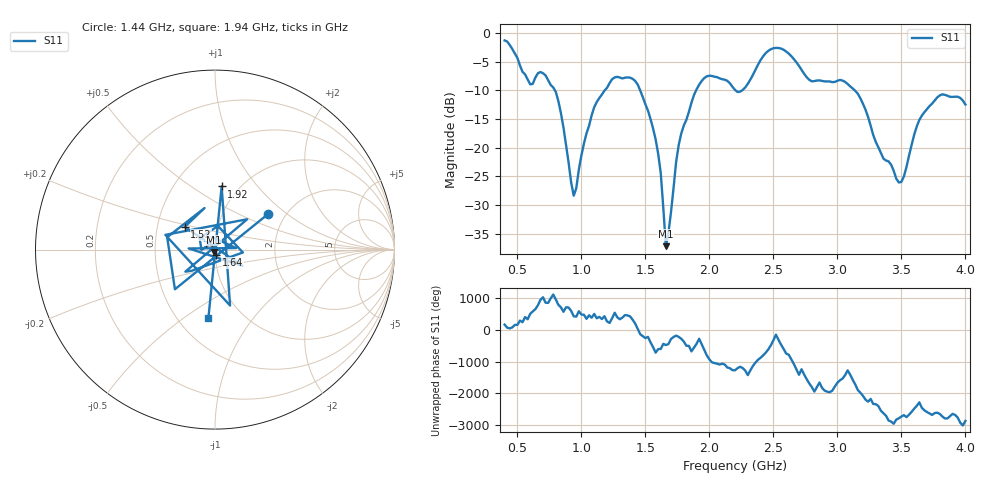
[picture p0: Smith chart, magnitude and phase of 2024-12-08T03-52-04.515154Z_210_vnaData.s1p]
!Created with skrf (http://scikit-rf.org).
# Hz S RI R 50.0
!freq ReS11 ImS11
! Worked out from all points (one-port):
!   181 points, 400 MHz to 4 GHz, reference 50 ohm
!   lowest |S11| = -37.2 dB at 1.66 GHz (marker M1), VSWR 1.03, Z = 49.4 - j1.23 ohm
!   |S11| at or under -10 dB: 792.7 MHz to 1.182 GHz (389.7 MHz wide, 39.5 % of centre); 1.459 GHz to 1.896 GHz (437.4 MHz wide, 26.1 % of centre); 3.135 GHz to end of sweep (the widest 3 of 4)
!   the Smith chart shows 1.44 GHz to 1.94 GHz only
!   S11 on the Smith chart (normalised r, x): 1.44 GHz: 1.63, +0.74; 1.52 GHz: 0.69, +0.18; 1.64 GHz: 1.01, -0.06; 1.92 GHz: 0.83, +0.67; 1.94 GHz: 0.70, -0.62
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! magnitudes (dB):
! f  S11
! 400 MHz  -1.3
! 600 MHz  -9.0
! 720 MHz  -7.4
! 800 MHz  -10.3
! 860 MHz  -16.5
! 940 MHz  -28.4
! 1.1 GHz  -12.9
! 1.3 GHz  -7.8
! 1.44 GHz  -9.0
! 1.52 GHz  -13.5
! 1.6 GHz  -21.1
! 1.64 GHz  -30.5
! 1.66 GHz  -37.2
! 1.76 GHz  -19.6
! 1.92 GHz  -9.0
! 1.94 GHz  -8.4
! 2.2 GHz  -9.9
! 2.28 GHz  -9.5
! 2.48 GHz  -2.8
! 2.66 GHz  -4.6
! 2.8 GHz  -8.4
! 3.1 GHz  -9.3
! 3.18 GHz  -11.4
! 3.48 GHz  -26.1
! 3.56 GHz  -21.3
! 3.64 GHz  -15.2
! 3.78 GHz  -11.2
! 4 GHz  -12.5
